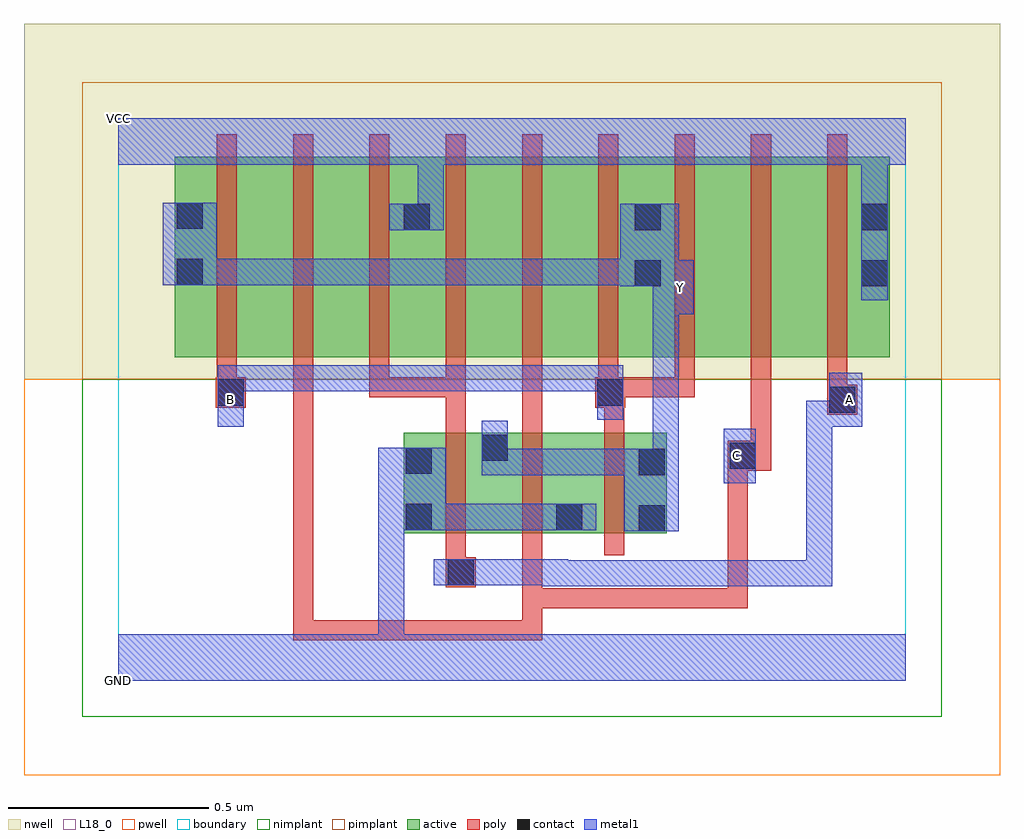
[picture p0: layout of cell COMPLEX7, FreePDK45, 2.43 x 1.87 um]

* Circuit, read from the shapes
.subckt COMPLEX7 A B C GND VCC Y
M1 Y A GND VSUBS nfet w=0.25u l=0.05u
M2 GND C Y VSUBS nfet w=0.25u l=0.05u
M3 Y B GND VSUBS nfet w=0.25u l=0.05u
M4 n1 B Y n2 pfet w=0.5u l=0.05u
M5 n3 C n1 n2 pfet w=0.5u l=0.05u
M6 VCC A n3 n2 pfet w=0.5u l=0.05u
M7 n4 A VCC n2 pfet w=0.5u l=0.05u
M8 n5 C n4 n2 pfet w=0.5u l=0.05u
M9 Y B n5 n2 pfet w=0.5u l=0.05u
M10 n6 B Y n2 pfet w=0.5u l=0.05u
M11 n7 C n6 n2 pfet w=0.5u l=0.05u
M12 VCC A n7 n2 pfet w=0.5u l=0.05u
.ends

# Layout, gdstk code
import gdstk
lib = gdstk.Library(unit=1e-6, precision=1e-09)
def R(c, l, rs):  # rectangles x0, y0, x1, y1
    for r in rs: c.add(gdstk.rectangle(r[:2], r[2:], *l))
def A(c, l, x, y, w, h, nx, ny, dx, dy):  # array of equal rectangles
    R(c, l, [(x+i*dx, y+j*dy, x+i*dx+w, y+j*dy+h) for i in range(nx) for j in range(ny)])
active = (1, 0)
pwell = (2, 0)
nwell = (3, 0)
nimplant = (4, 0)
pimplant = (5, 0)
poly = (9, 0)
contact = (10, 0)
metal1 = (11, 0)
L18_0 = (18, 0)
boundary = (235, 0)

complex7 = lib.new_cell('COMPLEX7')
A(complex7, active, 0.365, 0.805, 0.19, 0.5, 3, 1, 0.57, 0)
R(complex7, active, [(0.71,0.367,0.785,0.617), (0.71,0.367,0.975,0.617), (0.9,0.367,1.16,0.617), (1.085,0.367,1.365,0.617), (1.29,0.367,1.365,0.617), (1.085,0.37,1.16,0.497), (0.9,0.445,0.975,0.617), (0.14,0.805,0.365,1.305), (0.14,0.805,0.245,1.2), (0.555,0.805,0.78,1.305), (0.705,0.805,0.935,1.305), (1.125,0.805,1.355,1.305), (1.28,0.805,1.505,1.305), (1.695,0.805,1.92,1.305), (1.845,0.805,1.92,1.305), (0.705,0.807,0.78,1.305), (1.28,0.807,1.355,1.2)])
R(complex7, pwell, [(-0.235,-0.235,2.195,0.75)])
R(complex7, nwell, [(-0.235,0.75,2.195,1.635)])
R(complex7, nimplant, [(-0.09,-0.09,2.05,0.75)])
R(complex7, pimplant, [(-0.09,0.75,2.05,1.49)])
A(complex7, poly, 0.245, 0.75, 0.05, 0.61, 9, 1, 0.19, 0)
R(complex7, poly, [(0.435,0.1,0.485,0.15), (0.435,0.1,0.485,0.15), (0.435,0.1,0.485,0.15), (0.435,0.1,0.485,0.15), (0.435,0.1,0.485,0.15), (0.435,0.1,0.485,0.15), (0.435,0.1,0.485,0.15), (0.435,0.1,0.66,0.15), (0.435,0.1,0.485,0.8), (0.61,0.1,0.66,0.15), (0.61,0.1,0.66,0.15), (0.61,0.1,0.66,0.15), (0.61,0.1,0.66,0.15), (0.61,0.1,0.66,0.15), (0.61,0.1,0.66,0.15), (0.61,0.1,0.66,0.15), (0.61,0.1,0.922,0.15), (0.872,0.1,0.922,0.15), (0.872,0.1,1.055,0.15), (1.005,0.1,1.055,0.15), (1.005,0.1,1.055,0.23), (1.005,0.18,1.055,0.23), (1.005,0.18,1.055,0.23), (1.005,0.18,1.055,0.23), (1.005,0.18,1.302,0.23), (1.005,0.18,1.055,0.362), (1.252,0.18,1.302,0.23), (1.252,0.18,1.302,0.23), (1.252,0.18,1.302,0.23), (1.252,0.18,1.435,0.23), (1.385,0.18,1.435,0.23), (1.385,0.18,1.435,0.23), (1.385,0.18,1.435,0.23), (1.385,0.18,1.567,0.23), (1.517,0.18,1.567,0.572), (1.517,0.18,1.567,0.23), (1.517,0.18,1.567,0.23), (1.517,0.18,1.567,0.23), (1.517,0.18,1.567,0.23), (1.517,0.18,1.567,0.23), (1.517,0.18,1.567,0.23), (1.517,0.18,1.567,0.23), (0.815,0.232,0.89,0.307), (0.815,0.257,0.865,0.362), (0.815,0.312,0.865,0.672), (1.005,0.312,1.055,0.672), (1.21,0.312,1.26,0.672), (1.517,0.522,1.625,0.597), (1.575,0.547,1.625,0.8), (0.815,0.622,0.865,0.755), (1.005,0.622,1.055,0.717), (1.21,0.622,1.26,0.73), (1.765,0.662,1.84,0.737), (1.005,0.667,1.055,0.717), (1.005,0.667,1.055,0.8), (0.242,0.68,0.317,0.755), (1.187,0.68,1.262,0.755), (1.765,0.687,1.815,0.8), (0.245,0.705,0.295,0.8), (0.625,0.705,0.675,0.755), (0.625,0.705,0.675,0.8), (0.625,0.705,0.865,0.755), (0.815,0.705,0.865,0.755), (0.815,0.705,0.865,0.755), (0.815,0.705,0.865,0.755), (0.815,0.705,0.865,0.8), (1.195,0.705,1.245,0.8), (1.212,0.705,1.435,0.755), (1.385,0.705,1.435,0.755), (1.385,0.705,1.435,0.755), (1.385,0.705,1.435,0.755), (1.385,0.705,1.435,0.8)])
R(complex7, contact, [(0.82,0.237,0.885,0.302), (1.295,0.372,1.36,0.437), (0.715,0.375,0.78,0.44), (1.09,0.375,1.155,0.44), (1.295,0.512,1.36,0.577), (0.715,0.515,0.78,0.58), (1.522,0.527,1.587,0.592), (0.905,0.547,0.97,0.612), (1.77,0.667,1.835,0.732), (0.247,0.685,0.312,0.75), (1.192,0.685,1.257,0.75), (1.285,0.982,1.35,1.047), (1.85,0.982,1.915,1.047), (0.145,0.985,0.21,1.05), (0.71,1.122,0.775,1.187), (1.285,1.122,1.35,1.187), (1.85,1.122,1.915,1.187), (0.145,1.125,0.21,1.19)])
R(complex7, metal1, [(0,0,1.96,0.115), (0.647,0.05,0.712,0.44), (1.055,0.235,1.257,0.3), (1.055,0.235,1.12,0.302), (1.192,0.235,1.257,0.3), (1.192,0.235,1.435,0.3), (1.37,0.235,1.435,0.3), (1.37,0.235,1.435,0.3), (1.37,0.235,1.435,0.3), (1.37,0.235,1.435,0.3), (1.37,0.235,1.435,0.3), (1.37,0.235,1.64,0.3), (1.575,0.235,1.64,0.3), (1.575,0.235,1.64,0.3), (1.575,0.235,1.64,0.3), (1.575,0.235,1.64,0.3), (1.575,0.235,1.64,0.3), (1.575,0.235,1.777,0.3), (1.712,0.235,1.777,0.697), (1.712,0.235,1.777,0.3), (0.785,0.237,0.92,0.302), (0.855,0.237,0.952,0.302), (0.887,0.237,0.952,0.302), (0.887,0.237,1.12,0.302), (1.055,0.237,1.12,0.302), (1.055,0.237,1.12,0.302), (1.26,0.372,1.395,0.577), (0.647,0.375,0.712,0.44), (0.647,0.375,0.712,0.44), (0.647,0.375,0.712,0.44), (0.647,0.375,0.712,0.44), (0.647,0.375,0.712,0.44), (0.647,0.375,0.712,0.44), (0.647,0.375,0.815,0.58), (0.75,0.375,0.982,0.44), (0.917,0.375,0.982,0.44), (0.917,0.375,0.982,0.44), (0.917,0.375,0.982,0.44), (0.917,0.375,1.12,0.44), (1.055,0.375,1.12,0.44), (1.055,0.375,1.12,0.44), (1.055,0.375,1.19,0.44), (1.507,0.492,1.587,0.627), (0.905,0.512,0.97,0.647), (0.905,0.512,1.12,0.577), (1.055,0.512,1.12,0.577), (1.055,0.512,1.12,0.577), (1.055,0.512,1.12,0.577), (1.055,0.512,1.297,0.577), (1.232,0.512,1.297,0.577), (1.232,0.512,1.325,0.577), (1.33,0.512,1.395,0.977), (0.247,0.632,0.312,0.785), (1.712,0.632,1.835,0.697), (1.712,0.632,1.777,0.697), (1.77,0.632,1.852,0.767), (1.192,0.65,1.257,0.785), (0.247,0.72,0.382,0.785), (0.317,0.72,0.382,0.785), (0.317,0.72,0.52,0.785), (0.455,0.72,0.52,0.785), (0.455,0.72,0.52,0.785), (0.455,0.72,0.52,0.785), (0.455,0.72,0.677,0.785), (0.612,0.72,0.677,0.785), (0.612,0.72,0.815,0.785), (0.75,0.72,0.815,0.785), (0.75,0.72,0.815,0.785), (0.75,0.72,0.815,0.785), (0.75,0.72,0.982,0.785), (0.917,0.72,0.982,0.785), (0.917,0.72,1.12,0.785), (1.055,0.72,1.12,0.785), (1.055,0.72,1.12,0.785), (1.055,0.72,1.12,0.785), (1.055,0.72,1.257,0.785), (1.33,0.912,1.432,1.047), (1.85,0.947,1.915,1.222), (1.25,0.982,1.395,1.187), (1.33,0.982,1.395,1.047), (0.11,0.985,0.245,1.19), (0.18,0.985,0.245,1.05), (0.18,0.985,0.245,1.05), (0.18,0.985,0.382,1.05), (0.317,0.985,0.382,1.05), (0.317,0.985,0.45,1.05), (0.385,0.985,0.45,1.05), (0.385,0.985,0.575,1.05), (0.51,0.985,0.575,1.05), (0.51,0.985,0.657,1.05), (0.592,0.985,0.657,1.05), (0.592,0.985,0.815,1.05), (0.75,0.985,0.815,1.05), (0.75,0.985,0.815,1.05), (0.75,0.985,0.815,1.05), (0.75,0.985,0.952,1.05), (0.887,0.985,0.952,1.05), (0.887,0.985,1.12,1.05), (1.055,0.985,1.12,1.05), (1.055,0.985,1.12,1.05), (1.055,0.985,1.12,1.05), (1.055,0.985,1.297,1.05), (1.232,0.985,1.297,1.05), (1.232,0.985,1.315,1.05), (0.675,1.122,0.81,1.187), (0.745,1.122,0.81,1.35), (1.85,1.157,1.915,1.35), (0,1.285,1.96,1.4)])
R(complex7, L18_0, [(0,0,1.96,0.115), (0.647,0.05,0.712,0.44), (1.055,0.235,1.257,0.3), (1.055,0.235,1.12,0.302), (1.192,0.235,1.257,0.3), (1.192,0.235,1.435,0.3), (1.37,0.235,1.435,0.3), (1.37,0.235,1.435,0.3), (1.37,0.235,1.435,0.3), (1.37,0.235,1.435,0.3), (1.37,0.235,1.435,0.3), (1.37,0.235,1.64,0.3), (1.575,0.235,1.64,0.3), (1.575,0.235,1.64,0.3), (1.575,0.235,1.64,0.3), (1.575,0.235,1.64,0.3), (1.575,0.235,1.64,0.3), (1.575,0.235,1.777,0.3), (1.712,0.235,1.777,0.3), (1.712,0.235,1.777,0.697), (0.785,0.237,0.92,0.302), (0.855,0.237,0.952,0.302), (0.887,0.237,0.952,0.302), (0.887,0.237,1.12,0.302), (1.055,0.237,1.12,0.302), (1.055,0.237,1.12,0.302), (1.26,0.372,1.395,0.577), (0.647,0.375,0.712,0.44), (0.647,0.375,0.712,0.44), (0.647,0.375,0.712,0.44), (0.647,0.375,0.712,0.44), (0.647,0.375,0.712,0.44), (0.647,0.375,0.712,0.44), (0.647,0.375,0.815,0.58), (0.75,0.375,0.982,0.44), (0.917,0.375,0.982,0.44), (0.917,0.375,0.982,0.44), (0.917,0.375,0.982,0.44), (0.917,0.375,1.12,0.44), (1.055,0.375,1.12,0.44), (1.055,0.375,1.12,0.44), (1.055,0.375,1.19,0.44), (1.507,0.492,1.587,0.627), (0.905,0.512,0.97,0.647), (0.905,0.512,1.12,0.577), (1.055,0.512,1.12,0.577), (1.055,0.512,1.12,0.577), (1.055,0.512,1.12,0.577), (1.055,0.512,1.297,0.577), (1.232,0.512,1.297,0.577), (1.232,0.512,1.325,0.577), (1.33,0.512,1.395,0.977), (1.507,0.527,1.572,0.592), (0.247,0.632,0.312,0.785), (1.712,0.632,1.777,0.697), (1.712,0.632,1.835,0.697), (1.77,0.632,1.852,0.767), (1.192,0.65,1.257,0.785), (0.247,0.667,0.312,0.732), (1.787,0.667,1.852,0.732), (0.247,0.72,0.382,0.785), (0.317,0.72,0.382,0.785), (0.317,0.72,0.52,0.785), (0.455,0.72,0.52,0.785), (0.455,0.72,0.52,0.785), (0.455,0.72,0.52,0.785), (0.455,0.72,0.677,0.785), (0.612,0.72,0.677,0.785), (0.612,0.72,0.815,0.785), (0.75,0.72,0.815,0.785), (0.75,0.72,0.815,0.785), (0.75,0.72,0.815,0.785), (0.75,0.72,0.982,0.785), (0.917,0.72,0.982,0.785), (0.917,0.72,1.12,0.785), (1.055,0.72,1.12,0.785), (1.055,0.72,1.12,0.785), (1.055,0.72,1.12,0.785), (1.055,0.72,1.257,0.785), (1.33,0.912,1.432,1.047), (1.367,0.947,1.432,1.012), (1.85,0.947,1.915,1.222), (1.25,0.982,1.395,1.187), (1.33,0.982,1.395,1.047), (0.11,0.985,0.245,1.19), (0.18,0.985,0.245,1.05), (0.18,0.985,0.245,1.05), (0.18,0.985,0.382,1.05), (0.317,0.985,0.382,1.05), (0.317,0.985,0.45,1.05), (0.385,0.985,0.45,1.05), (0.385,0.985,0.575,1.05), (0.51,0.985,0.575,1.05), (0.51,0.985,0.657,1.05), (0.592,0.985,0.657,1.05), (0.592,0.985,0.815,1.05), (0.75,0.985,0.815,1.05), (0.75,0.985,0.815,1.05), (0.75,0.985,0.815,1.05), (0.75,0.985,0.952,1.05), (0.887,0.985,0.952,1.05), (0.887,0.985,1.12,1.05), (1.055,0.985,1.12,1.05), (1.055,0.985,1.12,1.05), (1.055,0.985,1.12,1.05), (1.055,0.985,1.297,1.05), (1.232,0.985,1.297,1.05), (1.232,0.985,1.315,1.05), (0.675,1.122,0.81,1.187), (0.745,1.122,0.81,1.35), (1.85,1.157,1.915,1.35), (0,1.285,1.96,1.4)])
R(complex7, boundary, [(0,0,1.96,1.4)])
complex7.add(gdstk.Label('A', (1.82,0.7), layer=11, texttype=0))
complex7.add(gdstk.Label('B', (0.28,0.7), layer=11, texttype=0))
complex7.add(gdstk.Label('C', (1.54,0.56), layer=11, texttype=0))
complex7.add(gdstk.Label('Y', (1.4,0.98), layer=11, texttype=0))
complex7.add(gdstk.Label('VCC', (0,1.4), layer=11, texttype=0))
complex7.add(gdstk.Label('GND', (0,0), layer=11, texttype=0))

lib.write_gds('COMPLEX7.gds')
